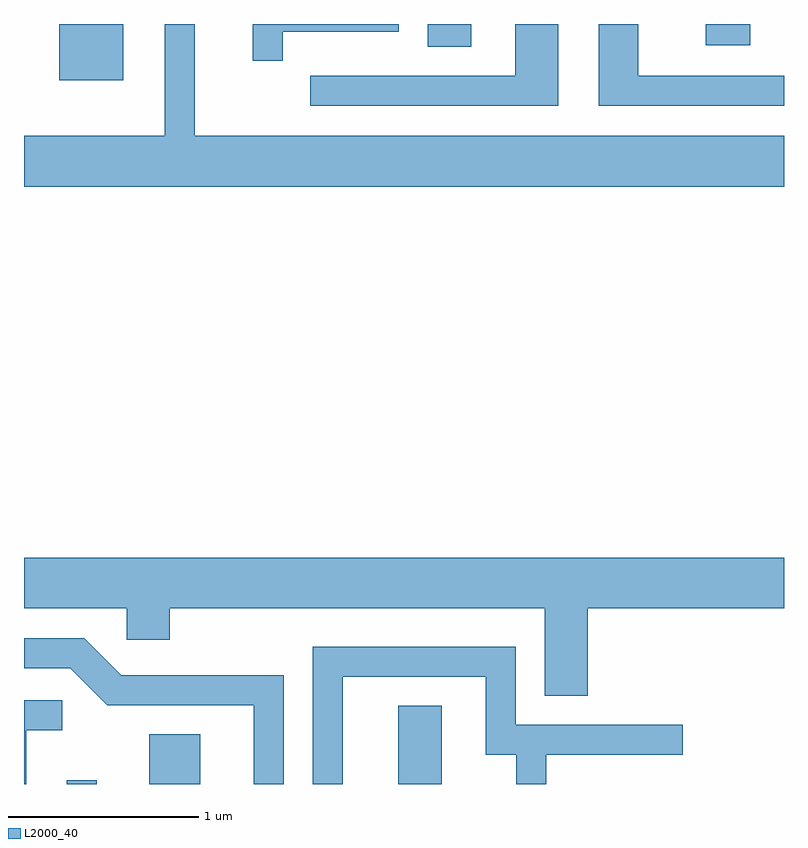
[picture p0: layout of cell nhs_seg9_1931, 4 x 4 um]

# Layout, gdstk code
import gdstk
lib = gdstk.Library(unit=1e-6, precision=1e-09)
def R(c, l, rs):  # rectangles x0, y0, x1, y1
    for r in rs: c.add(gdstk.rectangle(r[:2], r[2:], *l))
def P(c, l, *ps):  # polygons
    for p in ps: c.add(gdstk.Polygon(p, *l))
L2000_40 = (2000, 40)

nhs_seg9_1931 = lib.new_cell('nhs_seg9_1931')
R(nhs_seg9_1931, L2000_40, [(241.836,2006.432,241.994,2006.453), (242.271,2006.432,242.539,2006.694), (243.581,2006.432,243.809,2006.844), (241.796,2010.136,242.134,2010.432), (243.736,2010.311,243.964,2010.432), (245.198,2010.321,245.434,2010.432)])
P(nhs_seg9_1931, L2000_40, [(245.611,2010.159),(244.844,2010.159),(244.844,2010.432),(244.636,2010.432),(244.636,2010.001),(245.611,2010.001)],
  [(244.424,2010.432),(244.196,2010.432),(244.196,2010.159),(243.118,2010.159),(243.118,2010.001),(244.424,2010.001)],
  [(242.974,2010.391),(243.584,2010.391),(243.584,2010.432),(242.816,2010.432),(242.816,2010.238),(242.974,2010.238)],
  [(242.351,2010.432),(242.351,2009.844),(241.611,2009.844),(241.611,2009.576),(245.611,2009.576),(245.611,2009.844),(242.509,2009.844),(242.509,2010.432)],
  [(244.579,2007.356),(245.611,2007.356),(245.611,2007.624),(241.611,2007.624),(241.611,2007.356),(242.151,2007.356),(242.151,2007.191),(242.379,2007.191),(242.379,2007.356),(244.351,2007.356),(244.351,2006.896),(244.579,2006.896)],
  [(242.979,2007.004),(242.122,2007.004),(241.927,2007.199),(241.611,2007.199),(241.611,2007.041),(241.854,2007.041),(242.049,2006.846),(242.821,2006.846),(242.821,2006.432),(242.979,2006.432)],
  [(243.289,2006.996),(244.041,2006.996),(244.041,2006.586),(244.201,2006.586),(244.201,2006.432),(244.359,2006.432),(244.359,2006.586),(245.078,2006.586),(245.078,2006.744),(244.199,2006.744),(244.199,2007.154),(243.131,2007.154),(243.131,2006.432),(243.289,2006.432)],
  [(241.624,2006.716),(241.813,2006.716),(241.813,2006.874),(241.611,2006.874),(241.611,2006.432),(241.624,2006.432)])

lib.write_gds('nhs_seg9_1931.gds')
